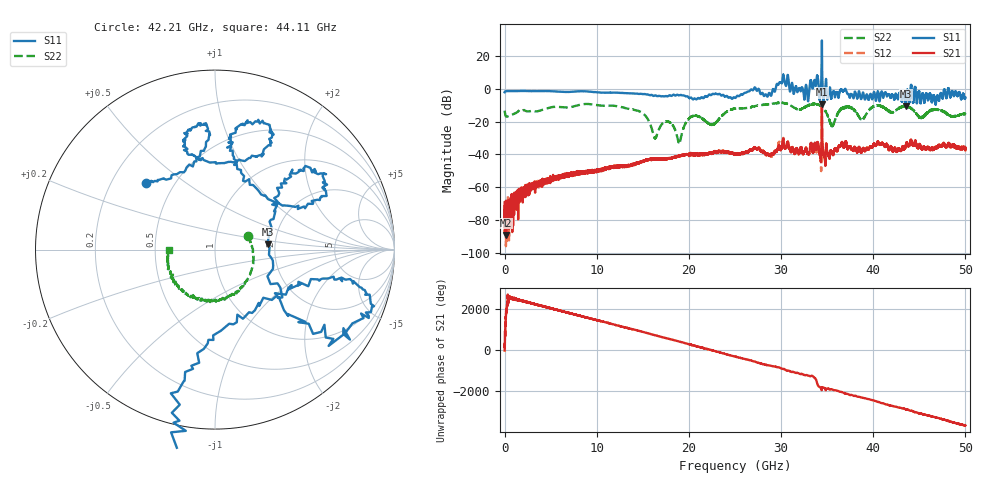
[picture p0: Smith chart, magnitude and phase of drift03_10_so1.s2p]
!Created with skrf (http://scikit-rf.org).
# Hz S RI R 50.0
!freq ReS11 ImS11 ReS21 ImS21 ReS12 ImS12 ReS22 ImS22
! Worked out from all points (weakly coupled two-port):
!   10000 points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, 5.3 MHz to 50 GHz, reference 50 ohm
!   highest |S21| = -9.55 dB at 34.43 GHz (marker M1); lowest = -89.2 dB at 160.3 MHz (marker M2)
!   lowest |S11| = -10.6 dB at 43.52 GHz (marker M3), VSWR 1.83, Z = 91.2 + j5.93 ohm
!   |S11| at or under -10 dB: 43.51128 GHz to 43.5347 GHz (23.42 MHz wide, 0.0538 % of centre)
!   |S22| runs from -33.4 to -8.5 dB; largest |S21 - S12| = 0.098
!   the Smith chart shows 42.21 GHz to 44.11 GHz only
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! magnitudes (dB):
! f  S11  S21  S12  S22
! 5.3 MHz  -2.1  -69.4  -73.6  -13.3
! 160.3 MHz  -1.4  -89.2  -79.4  -16.9
! 3.065 GHz  -1.4  -59.0  -59.6  -13.4
! 8.34 GHz  -1.5  -50.7  -51.2  -9.5
! 14.51 GHz  -3.1  -45.7  -45.1  -13.4
! 16.67 GHz  -4.4  -42.8  -42.8  -25.7
! 17.83 GHz  -4.1  -42.7  -42.4  -20.3
! 18.96 GHz  -4.0  -41.0  -41.0  -33.3
! 20.26 GHz  -5.4  -40.5  -40.0  -17.0
! 22.57 GHz  -3.1  -39.5  -39.3  -21.8
! 25.01 GHz  -5.5  -39.7  -39.7  -12.1
! 28.72 GHz  -2.5  -41.0  -40.5  -9.4
! 30.14 GHz  4.4  -33.4  -34.1  -8.6
! 32.74 GHz  2.0  -37.1  -36.5  -10.6
! 33.34 GHz  2.4  -34.8  -34.9  -9.4
! 34.43 GHz  29.5  -9.6  -11.9  -10.9
! 35.54 GHz  -3.2  -38.9  -39.2  -22.8
! 36.95 GHz  -0.1  -33.4  -33.3  -11.4
! 38.75 GHz  -5.6  -38.3  -38.3  -18.9
! 41.67 GHz  -3.3  -37.2  -36.7  -13.5
! 43.52 GHz  -10.6  -34.9  -34.9  -10.8
! 50 GHz  -5.4  -37.0  -36.4  -15.5
